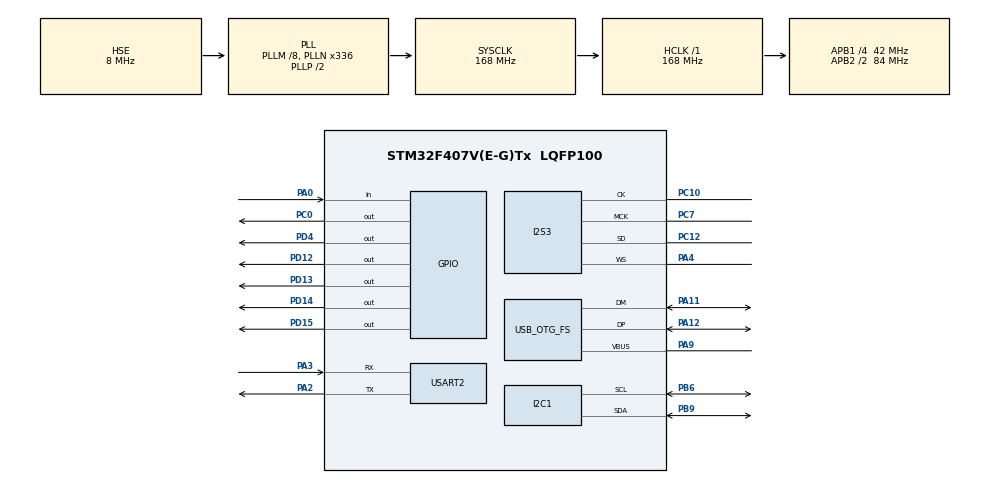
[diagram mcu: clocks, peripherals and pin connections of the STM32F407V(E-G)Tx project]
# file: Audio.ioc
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Dma.Request0=SPI3_TX
Dma.SPI3_TX.0.Direction=DMA_MEMORY_TO_PERIPH
Dma.SPI3_TX.0.FIFOMode=DMA_FIFOMODE_ENABLE
Dma.SPI3_TX.0.FIFOThreshold=DMA_FIFO_THRESHOLD_FULL
Dma.SPI3_TX.0.Instance=DMA1_Stream5
Dma.SPI3_TX.0.MemBurst=DMA_MBURST_SINGLE
Dma.SPI3_TX.0.MemDataAlignment=DMA_MDATAALIGN_HALFWORD
Dma.SPI3_TX.0.MemInc=DMA_MINC_ENABLE
Dma.SPI3_TX.0.Mode=DMA_CIRCULAR
Dma.SPI3_TX.0.PeriphBurst=DMA_PBURST_SINGLE
Dma.SPI3_TX.0.PeriphDataAlignment=DMA_PDATAALIGN_HALFWORD
Dma.SPI3_TX.0.PeriphInc=DMA_PINC_DISABLE
Dma.SPI3_TX.0.Priority=DMA_PRIORITY_LOW
I2S3.ErrorAudioFreq=0.23 %
I2S3.FullDuplexMode=I2S_FULLDUPLEXMODE_DISABLE
I2S3.Instance=SPI$Index
I2S3.RealAudioFreq=8.019 KHz
I2S3.VirtualMode=I2S_MODE_MASTER
Mcu.Family=STM32F4
Mcu.Name=STM32F407V(E-G)Tx
Mcu.Package=LQFP100
NVIC.DMA1_Stream5_IRQn=true\:0\:0\:false\:false\:true\:false\:true\:true
NVIC.OTG_FS_IRQn=true\:0\:0\:false\:false\:true\:false\:true\:true
NVIC.PriorityGroup=NVIC_PRIORITYGROUP_0
NVIC.USART2_IRQn=true\:0\:0\:false\:false\:true\:true\:true\:true
PA0-WKUP.Signal=GPIO_Input
PA11.Mode=Host_Only
PA11.Signal=USB_OTG_FS_DM
PA12.Mode=Host_Only
PA12.Signal=USB_OTG_FS_DP
PA2.Mode=Asynchronous
PA2.Signal=USART2_TX
PA3.Mode=Asynchronous
PA3.Signal=USART2_RX
PA4.Mode=Half_Duplex_Master
PA4.Signal=I2S3_WS
PA9.Mode=Activate_VBUS
PA9.Signal=USB_OTG_FS_VBUS
PB6.Mode=I2C
PB6.Signal=I2C1_SCL
PB9.Mode=I2C
PB9.Signal=I2C1_SDA
PC0.Signal=GPIO_Output
PC10.Mode=Half_Duplex_Master
PC10.Signal=I2S3_CK
PC12.Mode=Half_Duplex_Master
PC12.Signal=I2S3_SD
PC7.Mode=Master_Clock_Activated
PC7.Signal=I2S3_MCK
PD12.Signal=GPIO_Output
PD13.Signal=GPIO_Output
PD14.Signal=GPIO_Output
PD15.Signal=GPIO_Output
PD4.Signal=GPIO_Output
PH0-OSC_IN.Mode=HSE-External-Oscillator
PH0-OSC_IN.Signal=RCC_OSC_IN
PH1-OSC_OUT.Mode=HSE-External-Oscillator
PH1-OSC_OUT.Signal=RCC_OSC_OUT
ProjectManager.HeapSize=0x2000
ProjectManager.StackSize=0x2000
ProjectManager.TargetToolchain=EWARM V8.50
RCC.48MHZClocksFreq_Value=48000000
RCC.AHBFreq_Value=168000000
RCC.APB1CLKDivider=RCC_HCLK_DIV4
RCC.APB1Freq_Value=42000000
RCC.APB1TimFreq_Value=84000000
RCC.APB2CLKDivider=RCC_HCLK_DIV2
RCC.APB2Freq_Value=84000000
RCC.APB2TimFreq_Value=168000000
RCC.CortexFreq_Value=168000000
RCC.HCLKFreq_Value=168000000
RCC.HSE_VALUE=8000000
RCC.HSI_VALUE=16000000
RCC.LSE_VALUE=32768
RCC.PLLI2SN=271
RCC.PLLI2SR=6
RCC.PLLM=8
RCC.PLLN=336
RCC.PLLQ=7
RCC.SYSCLKFreq_VALUE=168000000
RCC.SYSCLKSource=RCC_SYSCLKSOURCE_PLLCLK
RCC.VCOOutputFreq_Value=336000000
USART2.VirtualMode=VM_ASYNC
USB_HOST.USBH_HandleTypeDef-MSC_FS=hUsbHostFS
USB_HOST.VirtualModeFS=Msc
USB_OTG_FS.VirtualMode=Host_Only
USB_OTG_FS.phy_itface=HCD_PHY_EMBEDDED
VP_FATFS_VS_USB.Mode=USB
VP_USB_HOST_VS_USB_HOST_MSC_FS.Mode=MSC_FS
board=STM32F407G-DISC1

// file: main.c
/* USER CODE BEGIN Header */
/**
  ******************************************************************************
  * @file           : main.c
  * @brief          : Main program body
  ******************************************************************************
  * @attention
  *
  * <h2><center>&copy; Copyright (c) 2020 STMicroelectronics.
  * All rights reserved.</center></h2>
  *
  * This software component is licensed by ST under Ultimate Liberty license
  * SLA0044, the "License"; You may not use this file except in compliance with
  * the License. You may obtain a copy of the License at:
  *                             www.st.com/SLA0044
  *
  ******************************************************************************
  */
/* USER CODE END Header */
#include "main.h"
#include "fatfs.h"
#include "usb_host.h"

/* USER CODE BEGIN Includes */
#include "audioI2S.h"
#include "MY_CS43L22.h"
#include "wav_player.h"
/* USER CODE END Includes */

/* USER CODE BEGIN PTD */
extern ApplicationTypeDef Appli_state;
/* USER CODE END PTD */

I2C_HandleTypeDef hi2c1;

I2S_HandleTypeDef hi2s3;
DMA_HandleTypeDef hdma_spi3_tx;

UART_HandleTypeDef huart2;

/* USER CODE BEGIN PV */
#define WAV_FILE1 "audio.wav"
/* USER CODE END PV */

void SystemClock_Config(void);
static void MX_GPIO_Init(void);
static void MX_DMA_Init(void);
static void MX_I2C1_Init(void);
static void MX_I2S3_Init(void);
static void MX_USART2_UART_Init(void);
void MX_USB_HOST_Process(void);

int main(void)
{

  /* MCU Configuration--------------------------------------------------------*/

  /* Reset of all peripherals, Initializes the Flash interface and the Systick. */
  HAL_Init();

  /* Configure the system clock */
  SystemClock_Config();

  /* Initialize all configured peripherals */
  MX_GPIO_Init();
  MX_DMA_Init();
  MX_I2C1_Init();
  MX_I2S3_Init();
  MX_FATFS_Init();
  MX_USB_HOST_Init();
  MX_USART2_UART_Init();
  /* USER CODE BEGIN 2 */
  CS43_Init(hi2c1, MODE_I2S);
  CS43_SetVolume(180);//0-255
  CS43_Enable_RightLeft(CS43_RIGHT_LEFT);

  audioI2S_setHandle(&hi2s3);

  bool isSdCardMounted=0;
  bool pauseResumeToggle=0;
  /* USER CODE END 2 */

  /* Infinite loop */
  while (1)
  {
    MX_USB_HOST_Process();

    /* USER CODE BEGIN 3 */
    if(Appli_state == APPLICATION_START)
    {
      HAL_GPIO_WritePin(GPIOD, GPIO_PIN_12, GPIO_PIN_SET);
    }
    else if(Appli_state == APPLICATION_DISCONNECT)
    {
      HAL_GPIO_WritePin(GPIOD, GPIO_PIN_12, GPIO_PIN_RESET);
      f_mount(NULL, (TCHAR const*)"", 0);
      isSdCardMounted = 0;
    }

    if(Appli_state == APPLICATION_READY)
    {
      if(!isSdCardMounted)
      {
        f_mount(&USBHFatFS, (const TCHAR*)USBHPath, 0);
        isSdCardMounted = 1;
      }
      if(HAL_GPIO_ReadPin(GPIOA, GPIO_PIN_0))
      {
        HAL_GPIO_WritePin(GPIOD, GPIO_PIN_13, GPIO_PIN_SET);
        HAL_Delay(500);
        wavPlayer_fileSelect(WAV_FILE1);
        wavPlayer_play();

        while(!wavPlayer_isFinished())
        {
          wavPlayer_process();
          if(HAL_GPIO_ReadPin(GPIOA, GPIO_PIN_0))
          {
            pauseResumeToggle^=1;
            if(pauseResumeToggle)
            {
              HAL_GPIO_WritePin(GPIOD, GPIO_PIN_14, GPIO_PIN_SET);
              wavPlayer_pause();
              HAL_Delay(200);
            }
            else
            {
              HAL_GPIO_WritePin(GPIOD, GPIO_PIN_14, GPIO_PIN_RESET);
              HAL_Delay(1000);
              if(HAL_GPIO_ReadPin(GPIOA, GPIO_PIN_0))
              {
                wavPlayer_stop();
              }
              {
                wavPlayer_resume();
              }
            }
          }
        }
        HAL_GPIO_WritePin(GPIOD, GPIO_PIN_13, GPIO_PIN_RESET);
        HAL_Delay(1000);
      }
    }
  }
  /* USER CODE END 3 */
}

void SystemClock_Config(void)
{
  RCC_OscInitTypeDef RCC_OscInitStruct = {0};
  RCC_ClkInitTypeDef RCC_ClkInitStruct = {0};

  /** Configure the main internal regulator output voltage
  */
  __HAL_RCC_PWR_CLK_ENABLE();
  __HAL_PWR_VOLTAGESCALING_CONFIG(PWR_REGULATOR_VOLTAGE_SCALE1);

  /** Initializes the RCC Oscillators according to the specified parameters
  * in the RCC_OscInitTypeDef structure.
  */
  RCC_OscInitStruct.OscillatorType = RCC_OSCILLATORTYPE_HSE;
  RCC_OscInitStruct.HSEState = RCC_HSE_ON;
  RCC_OscInitStruct.PLL.PLLState = RCC_PLL_ON;
  RCC_OscInitStruct.PLL.PLLSource = RCC_PLLSOURCE_HSE;
  RCC_OscInitStruct.PLL.PLLM = 8;
  RCC_OscInitStruct.PLL.PLLN = 336;
  RCC_OscInitStruct.PLL.PLLP = RCC_PLLP_DIV2;
  RCC_OscInitStruct.PLL.PLLQ = 7;
  if (HAL_RCC_OscConfig(&RCC_OscInitStruct) != HAL_OK)
  {
    Error_Handler();
  }

  /** Initializes the CPU, AHB and APB buses clocks
  */
  RCC_ClkInitStruct.ClockType = RCC_CLOCKTYPE_HCLK|RCC_CLOCKTYPE_SYSCLK
                              |RCC_CLOCKTYPE_PCLK1|RCC_CLOCKTYPE_PCLK2;
  RCC_ClkInitStruct.SYSCLKSource = RCC_SYSCLKSOURCE_PLLCLK;
  RCC_ClkInitStruct.AHBCLKDivider = RCC_SYSCLK_DIV1;
  RCC_ClkInitStruct.APB1CLKDivider = RCC_HCLK_DIV4;
  RCC_ClkInitStruct.APB2CLKDivider = RCC_HCLK_DIV2;

  if (HAL_RCC_ClockConfig(&RCC_ClkInitStruct, FLASH_LATENCY_5) != HAL_OK)
  {
    Error_Handler();
  }
}

static void MX_I2C1_Init(void)
{

  hi2c1.Instance = I2C1;
  hi2c1.Init.ClockSpeed = 100000;
  hi2c1.Init.DutyCycle = I2C_DUTYCYCLE_2;
  hi2c1.Init.OwnAddress1 = 0;
  hi2c1.Init.AddressingMode = I2C_ADDRESSINGMODE_7BIT;
  hi2c1.Init.DualAddressMode = I2C_DUALADDRESS_DISABLE;
  hi2c1.Init.OwnAddress2 = 0;
  hi2c1.Init.GeneralCallMode = I2C_GENERALCALL_DISABLE;
  hi2c1.Init.NoStretchMode = I2C_NOSTRETCH_DISABLE;
  if (HAL_I2C_Init(&hi2c1) != HAL_OK)
  {
    Error_Handler();
  }

}

static void MX_I2S3_Init(void)
{

  hi2s3.Instance = SPI3;
  hi2s3.Init.Mode = I2S_MODE_MASTER_TX;
  hi2s3.Init.Standard = I2S_STANDARD_PHILIPS;
  hi2s3.Init.DataFormat = I2S_DATAFORMAT_16B;
  hi2s3.Init.MCLKOutput = I2S_MCLKOUTPUT_ENABLE;
  hi2s3.Init.AudioFreq = I2S_AUDIOFREQ_8K;
  hi2s3.Init.CPOL = I2S_CPOL_LOW;
  hi2s3.Init.ClockSource = I2S_CLOCK_PLL;
  hi2s3.Init.FullDuplexMode = I2S_FULLDUPLEXMODE_DISABLE;
  if (HAL_I2S_Init(&hi2s3) != HAL_OK)
  {
    Error_Handler();
  }

}

static void MX_USART2_UART_Init(void)
{

  huart2.Instance = USART2;
  huart2.Init.BaudRate = 115200;
  huart2.Init.WordLength = UART_WORDLENGTH_8B;
  huart2.Init.StopBits = UART_STOPBITS_1;
  huart2.Init.Parity = UART_PARITY_NONE;
  huart2.Init.Mode = UART_MODE_TX_RX;
  huart2.Init.HwFlowCtl = UART_HWCONTROL_NONE;
  huart2.Init.OverSampling = UART_OVERSAMPLING_16;
  if (HAL_UART_Init(&huart2) != HAL_OK)
  {
    Error_Handler();
  }

}

static void MX_DMA_Init(void)
{

  /* DMA controller clock enable */
  __HAL_RCC_DMA1_CLK_ENABLE();

  /* DMA interrupt init */
  /* DMA1_Stream5_IRQn interrupt configuration */
  HAL_NVIC_SetPriority(DMA1_Stream5_IRQn, 0, 0);
  HAL_NVIC_EnableIRQ(DMA1_Stream5_IRQn);

}

static void MX_GPIO_Init(void)
{
  GPIO_InitTypeDef GPIO_InitStruct = {0};

  /* GPIO Ports Clock Enable */
  __HAL_RCC_GPIOH_CLK_ENABLE();
  __HAL_RCC_GPIOC_CLK_ENABLE();
  __HAL_RCC_GPIOA_CLK_ENABLE();
  __HAL_RCC_GPIOD_CLK_ENABLE();
  __HAL_RCC_GPIOB_CLK_ENABLE();

  /*Configure GPIO pin Output Level */
  HAL_GPIO_WritePin(GPIOC, GPIO_PIN_0, GPIO_PIN_RESET);

  /*Configure GPIO pin Output Level */
  HAL_GPIO_WritePin(GPIOD, GPIO_PIN_12|GPIO_PIN_13|GPIO_PIN_14|GPIO_PIN_15
                          |GPIO_PIN_4, GPIO_PIN_RESET);

  /*Configure GPIO pin : PC0 */
  GPIO_InitStruct.Pin = GPIO_PIN_0;
  GPIO_InitStruct.Mode = GPIO_MODE_OUTPUT_PP;
  GPIO_InitStruct.Pull = GPIO_NOPULL;
  GPIO_InitStruct.Speed = GPIO_SPEED_FREQ_LOW;
  HAL_GPIO_Init(GPIOC, &GPIO_InitStruct);

  /*Configure GPIO pin : PA0 */
  GPIO_InitStruct.Pin = GPIO_PIN_0;
  GPIO_InitStruct.Mode = GPIO_MODE_INPUT;
  GPIO_InitStruct.Pull = GPIO_NOPULL;
  HAL_GPIO_Init(GPIOA, &GPIO_InitStruct);

  /*Configure GPIO pins : PD12 PD13 PD14 PD15
                           PD4 */
  GPIO_InitStruct.Pin = GPIO_PIN_12|GPIO_PIN_13|GPIO_PIN_14|GPIO_PIN_15
                          |GPIO_PIN_4;
  GPIO_InitStruct.Mode = GPIO_MODE_OUTPUT_PP;
  GPIO_InitStruct.Pull = GPIO_NOPULL;
  GPIO_InitStruct.Speed = GPIO_SPEED_FREQ_LOW;
  HAL_GPIO_Init(GPIOD, &GPIO_InitStruct);

}

void Error_Handler(void)
{
}
